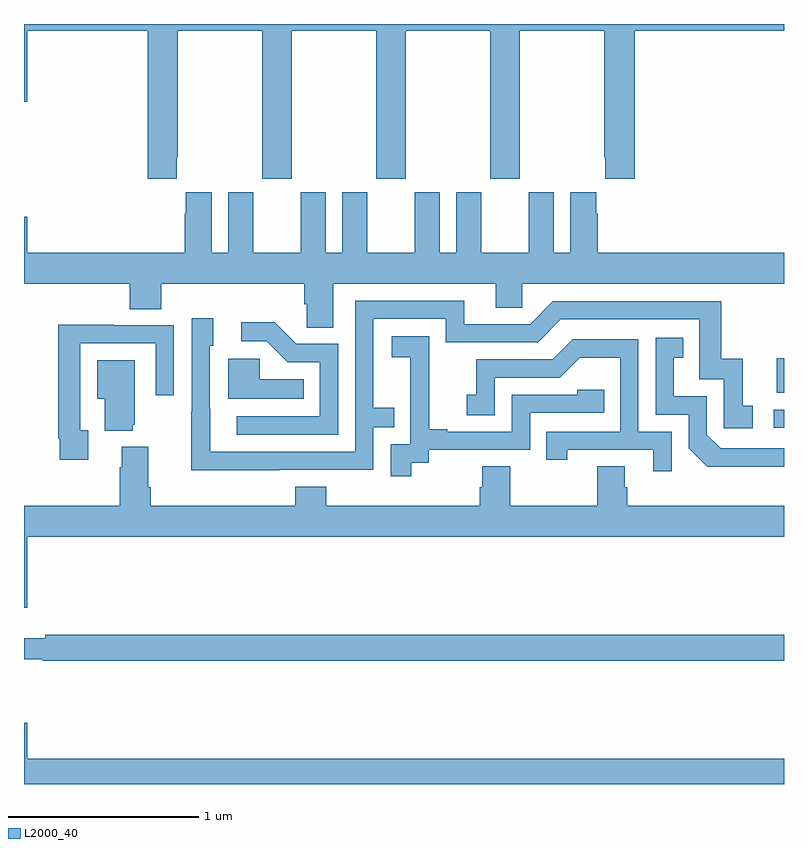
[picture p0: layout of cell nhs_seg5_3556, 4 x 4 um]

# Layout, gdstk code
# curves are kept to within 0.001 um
import gdstk
lib = gdstk.Library(unit=1e-6, precision=1e-09)
def R(c, l, rs):  # rectangles x0, y0, x1, y1
    for r in rs: c.add(gdstk.rectangle(r[:2], r[2:], *l))
def P(c, l, *ps):  # polygons
    for p in ps: c.add(gdstk.Polygon(p, *l))
L2000_40 = (2000, 40)

nhs_seg5_3556 = lib.new_cell('nhs_seg5_3556')
R(nhs_seg5_3556, L2000_40, [(324.945,850.674,325,850.77), (324.962,850.859,325,851.041)])
P(nhs_seg5_3556, L2000_40, [(321,852.39),(321.016,852.39),(321.016,852.764),(321.65,852.764),(321.65,851.985),(321.805,851.985),(321.805,852.097),(321.81,852.097),(321.81,852.764),(322.255,852.764),(322.255,851.985),(322.41,851.985),(322.41,852.764),(322.855,852.764),(322.855,851.985),(323.01,851.985),(323.01,852.764),(323.455,852.764),(323.455,851.985),(323.61,851.985),(323.61,852.764),(324.055,852.764),(324.055,852.097),(324.059,852.097),(324.059,851.985),(324.215,851.985),(324.215,852.764),(325,852.764),(325,852.799),(321,852.799)],
  [(322.627,851.432),(323.483,851.432),(323.483,851.305),(323.622,851.305),(323.622,851.432),(325,851.432),(325,851.596),(324.02,851.596),(324.02,851.801),(324.013,851.801),(324.013,851.914),(323.876,851.914),(323.876,851.596),(323.788,851.596),(323.788,851.914),(323.657,851.914),(323.657,851.596),(323.407,851.596),(323.407,851.914),(323.276,851.914),(323.276,851.596),(323.188,851.596),(323.188,851.914),(323.057,851.914),(323.057,851.596),(322.807,851.596),(322.807,851.914),(322.676,851.914),(322.676,851.596),(322.588,851.596),(322.588,851.914),(322.457,851.914),(322.457,851.596),(322.207,851.596),(322.207,851.914),(322.076,851.914),(322.076,851.596),(321.988,851.596),(321.988,851.914),(321.851,851.914),(321.851,851.801),(321.845,851.801),(321.845,851.596),(321.016,851.596),(321.016,851.785),(321,851.785),(321,851.432),(321.557,851.432),(321.557,851.299),(321.722,851.299),(321.722,851.432),(322.475,851.432),(322.475,851.323),(322.488,851.323),(322.488,851.2),(322.627,851.2)],
  [(322.343,850.452),(322.839,850.452),(322.839,850.677),(322.949,850.677),(322.949,850.778),(322.839,850.778),(322.839,851.247),(323.22,851.247),(323.22,851.124),(323.706,851.124),(323.826,851.244),(324.555,851.244),(324.555,850.929),(324.684,850.929),(324.684,850.671),(324.835,850.671),(324.835,850.791),(324.782,850.791),(324.782,851.038),(324.671,851.038),(324.671,851.34),(323.784,851.34),(323.664,851.22),(323.317,851.22),(323.317,851.343),(322.743,851.343),(322.743,850.548),(321.979,850.548),(321.978,851.106),(321.997,851.106),(321.997,851.251),(321.882,851.251),(321.882,850.757),(321.88,850.757),(321.88,850.451)],
  [(322.653,851.115),(322.434,851.115),(322.321,851.228),(322.143,851.228),(322.143,851.13),(322.277,851.13),(322.388,851.019),(322.557,851.019),(322.557,850.734),(322.119,850.734),(322.119,850.638),(322.653,850.638)],
  [(321.337,850.662),(321.297,850.662),(321.297,851.118),(321.693,851.118),(321.693,850.845),(321.789,850.845),(321.789,851.214),(321.473,851.214),(321.473,851.216),(321.181,851.216),(321.181,850.618),(321.189,850.618),(321.189,850.506),(321.337,850.506)],
  [(323.038,850.489),(323.13,850.489),(323.13,850.557),(323.664,850.557),(323.664,850.752),(324.053,850.752),(324.053,850.875),(323.913,850.875),(323.913,850.848),(323.568,850.848),(323.568,850.653),(323.227,850.653),(323.227,850.666),(323.132,850.666),(323.132,850.949),(323.133,850.949),(323.133,851.155),(322.935,851.155),(322.935,851.045),(323.033,851.045),(323.033,850.817),(323.034,850.817),(323.034,850.587),(322.929,850.587),(322.929,850.419),(323.038,850.419)],
  [(325,850.566),(324.666,850.566),(324.594,850.638),(324.594,850.839),(324.421,850.839),(324.421,851.043),(324.47,851.043),(324.47,851.149),(324.324,851.149),(324.324,850.743),(324.498,850.743),(324.498,850.566),(324.596,850.469),(325,850.469)],
  [(324.408,850.653),(324.234,850.653),(324.234,851.139),(323.888,851.139),(323.783,851.034),(323.38,851.034),(323.38,850.849),(323.331,850.849),(323.331,850.74),(323.478,850.74),(323.478,850.938),(323.82,850.938),(323.924,851.042),(324.138,851.042),(324.138,850.653),(323.749,850.653),(323.749,850.506),(323.86,850.506),(323.86,850.557),(324.311,850.557),(324.311,850.446),(324.408,850.446)],
  [(322.472,850.93),(322.242,850.93),(322.242,851.038),(322.076,851.038),(322.076,850.826),(322.472,850.826)],
  [(321.572,850.689),(321.583,850.689),(321.583,851.029),(321.386,851.029),(321.386,850.826),(321.425,850.826),(321.425,850.658),(321.572,850.658)],
  [(325,850.264),(324.176,850.264),(324.176,850.362),(324.163,850.362),(324.163,850.472),(324.016,850.472),(324.016,850.264),(323.559,850.264),(323.559,850.472),(323.411,850.472),(323.411,850.362),(323.399,850.362),(323.399,850.264),(322.592,850.264),(322.592,850.363),(322.427,850.363),(322.427,850.264),(321.668,850.264),(321.668,850.36),(321.655,850.36),(321.655,850.573),(321.515,850.573),(321.515,850.466),(321.503,850.466),(321.503,850.264),(321,850.264),(321,849.726),(321.016,849.726),(321.016,850.1),(325,850.1)],
  [(325,849.584),(321.112,849.584),(321.112,849.565),(321,849.565),(321,849.456),(321.098,849.456),(321.098,849.448),(325,849.448)],
  [(321.016,849.121),(321,849.121),(321,848.799),(325,848.799),(325,848.932),(321.016,848.932)])

lib.write_gds('nhs_seg5_3556.gds')
